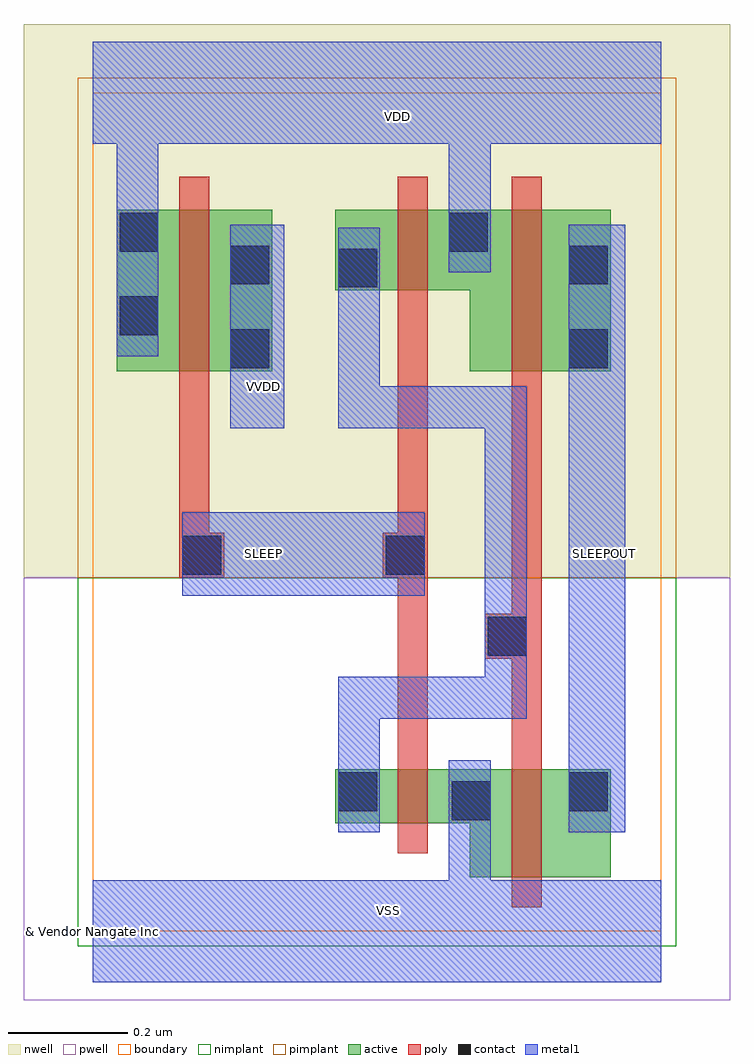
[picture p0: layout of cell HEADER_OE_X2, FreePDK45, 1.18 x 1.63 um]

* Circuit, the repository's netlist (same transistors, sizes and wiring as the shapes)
* 
* ******************************************************************************
* *                                                                            *
* *                   Copyright (C) 2004-2011, Nangate Inc.                    *
* *                           All rights reserved.                             *
* *                                                                            *
* * Nangate and the Nangate logo are trademarks of Nangate Inc.                *
* *                                                                            *
* * All trademarks, logos, software marks, and trade names (collectively the   *
* * "Marks") in this program are proprietary to Nangate or other respective    *
* * owners that have granted Nangate the right and license to use such Marks.  *
* * You are not permitted to use the Marks without the prior written consent   *
* * of Nangate or such third party that may own the Marks.                     *
* *                                                                            *
* * This file has been provided pursuant to a License Agreement containing     *
* * restrictions on its use. This file contains valuable trade secrets and     *
* * proprietary information of Nangate Inc., and is protected by U.S. and      *
* * international laws and/or treaties.                                        *
* *                                                                            *
* * The copyright notice(s) in this file does not indicate actual or intended  *
* * publication of this file.                                                  *
* *                                                                            *
* *     NGLibraryCreator, v2010.08-HR32-SP3-2010-08-05 - build 1009061800      *
* *                                                                            *
* ******************************************************************************
* 
* 
* Running on server08.nangate.com for user Giancarlo Franciscatto (gfr).
* Local time is now Thu, 6 Jan 2011, 19:45:44.
* Main process id is 3320.
*
********************************************************************************
*                                                                              *
* Cellname:   HEADER_OE_X2.                                                    *
*                                                                              *
* Technology: NCSU FreePDK 45nm.                                               *
* Format:     Cdl.                                                             *
*                                                                              *
* Written on server08.nangate.com for user Giancarlo Franciscatto (gfr)        *
* at 19:45:44 on Thu, 6 Jan 2011.                                              *
*                                                                              *
********************************************************************************
.SUBCKT HEADER_OE_X2 SLEEP SLEEPOUT VDD VSS VVDD 
*.PININFO SLEEP:I SLEEPOUT:O VDD:P VSS:G VVDD:P 
*.EQN SLEEPOUT=SLEEP
M_i_0 VSS SLEEP net_000 VSS NMOS_VTL W=0.090000U L=0.050000U
M_i_7 SLEEPOUT net_000 VSS VSS NMOS_VTL W=0.180000U L=0.050000U
M_i_14 VVDD SLEEP VDD VDD PMOS_VTL W=0.270000U L=0.050000U
M_i_21 VDD SLEEP net_000 VDD PMOS_VTL W=0.135000U L=0.050000U
M_i_28 SLEEPOUT net_000 VDD VDD PMOS_VTL W=0.270000U L=0.050000U
.ENDS 

********************************************************************************
*
* END
*
********************************************************************************

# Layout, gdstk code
import gdstk
lib = gdstk.Library(unit=1e-6, precision=1e-10)
def R(c, l, rs):  # rectangles x0, y0, x1, y1
    for r in rs: c.add(gdstk.rectangle(r[:2], r[2:], *l))
def P(c, l, *ps):  # polygons
    for p in ps: c.add(gdstk.Polygon(p, *l))
active = (1, 0)
pwell = (2, 0)
nwell = (3, 0)
nimplant = (4, 0)
pimplant = (5, 0)
poly = (9, 0)
contact = (10, 0)
metal1 = (11, 0)
boundary = (235, 0)

header_oe_x2 = lib.new_cell('HEADER_OE_X2')
R(header_oe_x2, active, [(0.04,0.935,0.3,1.205)])
P(header_oe_x2, active, [(0.405,0.18),(0.63,0.18),(0.63,0.09),(0.865,0.09),(0.865,0.27),(0.405,0.27)],
  [(0.405,1.07),(0.63,1.07),(0.63,0.935),(0.865,0.935),(0.865,1.205),(0.405,1.205)])
R(header_oe_x2, pwell, [(-0.115,-0.115,1.065,0.59)])
R(header_oe_x2, nwell, [(-0.115,0.59,1.065,1.515)])
R(header_oe_x2, nimplant, [(-0.025,-0.025,0.975,0.59)])
R(header_oe_x2, pimplant, [(-0.025,0.59,0.975,1.425)])
P(header_oe_x2, poly, [(0.145,0.59),(0.22,0.59),(0.22,0.665),(0.195,0.665),(0.195,1.26),(0.145,1.26)],
  [(0.485,0.59),(0.51,0.59),(0.51,0.13),(0.56,0.13),(0.56,1.26),(0.51,1.26),(0.51,0.665),(0.485,0.665)],
  [(0.655,0.455),(0.7,0.455),(0.7,0.04),(0.75,0.04),(0.75,1.26),(0.7,1.26),(0.7,0.53),(0.655,0.53)])
R(header_oe_x2, contact, [(0.6,0.185,0.665,0.25), (0.41,0.2,0.475,0.265), (0.795,0.2,0.86,0.265), (0.66,0.46,0.725,0.525), (0.15,0.595,0.215,0.66), (0.49,0.595,0.555,0.66), (0.23,0.94,0.295,1.005), (0.795,0.94,0.86,1.005), (0.045,0.995,0.11,1.06), (0.41,1.075,0.475,1.14), (0.23,1.08,0.295,1.145), (0.795,1.08,0.86,1.145), (0.045,1.135,0.11,1.2), (0.595,1.135,0.66,1.2)])
R(header_oe_x2, metal1, [(0.795,0.165,0.89,1.18), (0.15,0.56,0.555,0.7), (0.23,0.84,0.32,1.18)])
P(header_oe_x2, metal1, [(0,-0.085),(0.95,-0.085),(0.95,0.085),(0.665,0.085),(0.665,0.285),(0.595,0.285),(0.595,0.085),(0,0.085)],
  [(0,1.315),(0.04,1.315),(0.04,0.96),(0.11,0.96),(0.11,1.315),(0.595,1.315),(0.595,1.1),(0.665,1.1),(0.665,1.315),(0.95,1.315),(0.95,1.485),(0,1.485)],
  [(0.41,0.84),(0.655,0.84),(0.655,0.425),(0.41,0.425),(0.41,0.165),(0.48,0.165),(0.48,0.355),(0.725,0.355),(0.725,0.91),(0.48,0.91),(0.48,1.175),(0.41,1.175)])
R(header_oe_x2, boundary, [(0,0,0.95,1.4)])
header_oe_x2.add(gdstk.Label('VDD', (0.51,1.36), layer=11, texttype=0))
header_oe_x2.add(gdstk.Label('VSS', (0.495,0.035), layer=11, texttype=0))
header_oe_x2.add(gdstk.Label('SLEEP', (0.285,0.63), layer=11, texttype=0))
header_oe_x2.add(gdstk.Label('VVDD', (0.285,0.91), layer=11, texttype=0))
header_oe_x2.add(gdstk.Label('SLEEPOUT', (0.855,0.63), layer=11, texttype=0))
header_oe_x2.add(gdstk.Label('& Vendor Nangate Inc', (0,0), layer=63, texttype=63))
header_oe_x2.add(gdstk.Label('& Product Open Cell Library', (0,0), layer=63, texttype=63))
header_oe_x2.add(gdstk.Label('& Version 2010_12', (0,0), layer=63, texttype=63))
header_oe_x2.add(gdstk.Label('& Instance HEADER_OE_X2', (0,0), layer=63, texttype=63))

lib.write_gds('HEADER_OE_X2.gds')
